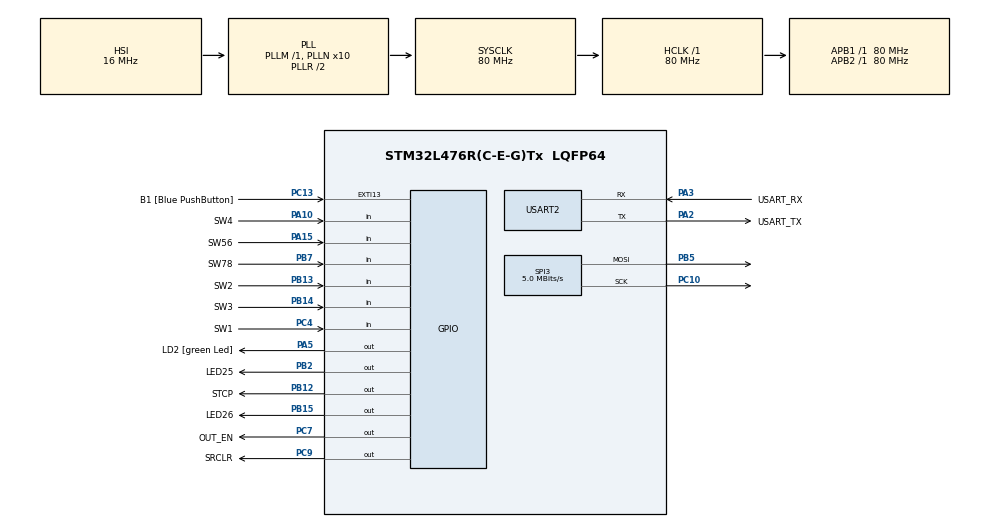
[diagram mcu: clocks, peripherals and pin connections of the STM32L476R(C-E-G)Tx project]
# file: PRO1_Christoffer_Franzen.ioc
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FREERTOS.Mutexes01=spiMutex,Static,spiMutexControlBlock
FREERTOS.Tasks01=defaultTask,24,128,StartDefaultTask,Default,NULL,Dynamic,NULL,NULL;SendSPITask,40,128,SendSPIdataTask,Default,NULL,Dynamic,NULL,NULL;TrafficLight,24,128,TrafficLightTask,Default,NULL,Dynamic,NULL,NULL;ToggleLED,40,128,ToggleLEDTask,Default,NULL,Dynamic,NULL,NULL
FREERTOS.configTOTAL_HEAP_SIZE=5000
FREERTOS.configUSE_NEWLIB_REENTRANT=1
Mcu.Family=STM32L4
Mcu.Name=STM32L476R(C-E-G)Tx
Mcu.Package=LQFP64
NVIC.PriorityGroup=NVIC_PRIORITYGROUP_4
NVIC.TIM1_UP_TIM16_IRQn=true\:15\:0\:false\:false\:true\:false\:false\:true\:true
NVIC.TimeBase=TIM1_UP_TIM16_IRQn
NVIC.TimeBaseIP=TIM1
PA10.GPIO_Label=SW4
PA10.GPIO_PuPd=GPIO_PULLUP
PA10.Signal=GPIO_Input
PA13\ (JTMS-SWDIO).GPIO_Label=TMS
PA13\ (JTMS-SWDIO).Mode=Serial_Wire
PA13\ (JTMS-SWDIO).Signal=SYS_JTMS-SWDIO
PA14\ (JTCK-SWCLK).GPIO_Label=TCK
PA14\ (JTCK-SWCLK).Mode=Serial_Wire
PA14\ (JTCK-SWCLK).Signal=SYS_JTCK-SWCLK
PA15\ (JTDI).GPIO_Label=SW56
PA15\ (JTDI).GPIO_PuPd=GPIO_PULLUP
PA15\ (JTDI).Signal=GPIO_Input
PA2.GPIO_Label=USART_TX
PA2.GPIO_Mode=GPIO_MODE_AF_PP
PA2.GPIO_PuPd=GPIO_NOPULL
PA2.GPIO_Speed=GPIO_SPEED_FREQ_VERY_HIGH
PA2.Mode=Asynchronous
PA2.Signal=USART2_TX
PA3.GPIO_Label=USART_RX
PA3.GPIO_Mode=GPIO_MODE_AF_PP
PA3.GPIO_PuPd=GPIO_NOPULL
PA3.GPIO_Speed=GPIO_SPEED_FREQ_VERY_HIGH
PA3.Mode=Asynchronous
PA3.Signal=USART2_RX
PA5.GPIO_Label=LD2 [green Led]
PA5.GPIO_ModeDefaultOutputPP=GPIO_MODE_OUTPUT_PP
PA5.GPIO_PuPd=GPIO_NOPULL
PA5.GPIO_Speed=GPIO_SPEED_FREQ_LOW
PA5.Signal=GPIO_Output
PB12.GPIO_Label=STCP
PB12.Signal=GPIO_Output
PB13.GPIO_Label=SW2
PB13.GPIO_PuPd=GPIO_PULLUP
PB13.Signal=GPIO_Input
PB14.GPIO_Label=SW3
PB14.GPIO_PuPd=GPIO_PULLUP
PB14.Signal=GPIO_Input
PB15.GPIO_Label=LED26
PB15.Signal=GPIO_Output
PB2.GPIO_Label=LED25
PB2.Signal=GPIO_Output
PB3\ (JTDO-TRACESWO).GPIO_Label=SWO
PB3\ (JTDO-TRACESWO).Signal=SYS_JTDO-SWO
PB5.Mode=TX_Only_Simplex_Unidirect_Master
PB5.Signal=SPI3_MOSI
PB7.GPIO_Label=SW78
PB7.GPIO_PuPd=GPIO_PULLUP
PB7.Signal=GPIO_Input
PC10.Mode=TX_Only_Simplex_Unidirect_Master
PC10.Signal=SPI3_SCK
PC13.GPIO_Label=B1 [Blue PushButton]
PC13.GPIO_ModeDefaultEXTI=GPIO_MODE_IT_FALLING
PC13.GPIO_PuPd=GPIO_NOPULL
PC13.Signal=GPXTI13
PC14-OSC32_IN\ (PC14).Mode=LSE-External-Oscillator
PC14-OSC32_IN\ (PC14).Signal=RCC_OSC32_IN
PC15-OSC32_OUT\ (PC15).Mode=LSE-External-Oscillator
PC15-OSC32_OUT\ (PC15).Signal=RCC_OSC32_OUT
PC4.GPIO_Label=SW1
PC4.GPIO_PuPd=GPIO_PULLUP
PC4.Signal=GPIO_Input
PC7.GPIO_Label=OUT_EN
PC7.PinState=GPIO_PIN_SET
PC7.Signal=GPIO_Output
PC9.GPIO_Label=SRCLR
PC9.PinState=GPIO_PIN_SET
PC9.Signal=GPIO_Output
PH0-OSC_IN\ (PH0).Signal=RCC_OSC_IN
PH1-OSC_OUT\ (PH1).Signal=RCC_OSC_OUT
ProjectManager.HeapSize=0x200
ProjectManager.StackSize=0x400
ProjectManager.TargetToolchain=STM32CubeIDE
RCC.ADCFreq_Value=64000000
RCC.AHBFreq_Value=80000000
RCC.APB1Freq_Value=80000000
RCC.APB1TimFreq_Value=80000000
RCC.APB2Freq_Value=80000000
RCC.APB2TimFreq_Value=80000000
RCC.CortexFreq_Value=80000000
RCC.HCLKFreq_Value=80000000
RCC.HSE_VALUE=8000000
RCC.HSI_VALUE=16000000
RCC.MSI_VALUE=4000000
RCC.PLLN=10
RCC.PLLSourceVirtual=RCC_PLLSOURCE_HSI
RCC.PREFETCH_ENABLE=1
RCC.SYSCLKFreq_VALUE=80000000
RCC.SYSCLKSource=RCC_SYSCLKSOURCE_PLLCLK
RCC.USBFreq_Value=64000000
RCC.VCOOutputFreq_Value=160000000
SPI3.BaudRatePrescaler=SPI_BAUDRATEPRESCALER_16
SPI3.CalculateBaudRate=5.0 MBits/s
SPI3.DataSize=SPI_DATASIZE_8BIT
SPI3.Direction=SPI_DIRECTION_2LINES
SPI3.FirstBit=SPI_FIRSTBIT_MSB
SPI3.Mode=SPI_MODE_MASTER
SPI3.VirtualType=VM_MASTER
USART2.VirtualMode-Asynchronous=VM_ASYNC
VP_FREERTOS_VS_CMSIS_V2.Mode=CMSIS_V2
VP_SYS_VS_tim1.Mode=TIM1
board=NUCLEO-L476RG

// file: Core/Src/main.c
/* USER CODE BEGIN Header */
/**
  ******************************************************************************
  * @file           : main.c
  * @brief          : Main program body
  ******************************************************************************
  * @attention
  *
  * Copyright (c) 2023 STMicroelectronics.
  * All rights reserved.
  *
  * This software is licensed under terms that can be found in the LICENSE file
  * in the root directory of this software component.
  * If no LICENSE file comes with this software, it is provided AS-IS.
  *
  ******************************************************************************
  */
/* USER CODE END Header */
#include "main.h"
#include "cmsis_os.h"
#include "spi.h"
#include "usart.h"
#include "gpio.h"

void SystemClock_Config(void);
void MX_FREERTOS_Init(void);

int main(void)
{

  /* MCU Configuration--------------------------------------------------------*/

  /* Reset of all peripherals, Initializes the Flash interface and the Systick. */
  HAL_Init();

  /* Configure the system clock */
  SystemClock_Config();

  /* Initialize all configured peripherals */
  MX_GPIO_Init();
  MX_USART2_UART_Init();
  MX_SPI3_Init();

  /* Init scheduler */
  osKernelInitialize();  /* Call init function for freertos objects (in freertos.c) */
  MX_FREERTOS_Init();

  /* Start scheduler */
  osKernelStart();

  /* We should never get here as control is now taken by the scheduler */
  /* Infinite loop */
  while (1)
  {

  }
}

void SystemClock_Config(void)
{
  RCC_OscInitTypeDef RCC_OscInitStruct = {0};
  RCC_ClkInitTypeDef RCC_ClkInitStruct = {0};

  /** Configure the main internal regulator output voltage
  */
  if (HAL_PWREx_ControlVoltageScaling(PWR_REGULATOR_VOLTAGE_SCALE1) != HAL_OK)
  {
    Error_Handler();
  }

  /** Initializes the RCC Oscillators according to the specified parameters
  * in the RCC_OscInitTypeDef structure.
  */
  RCC_OscInitStruct.OscillatorType = RCC_OSCILLATORTYPE_HSI;
  RCC_OscInitStruct.HSIState = RCC_HSI_ON;
  RCC_OscInitStruct.HSICalibrationValue = RCC_HSICALIBRATION_DEFAULT;
  RCC_OscInitStruct.PLL.PLLState = RCC_PLL_ON;
  RCC_OscInitStruct.PLL.PLLSource = RCC_PLLSOURCE_HSI;
  RCC_OscInitStruct.PLL.PLLM = 1;
  RCC_OscInitStruct.PLL.PLLN = 10;
  RCC_OscInitStruct.PLL.PLLP = RCC_PLLP_DIV7;
  RCC_OscInitStruct.PLL.PLLQ = RCC_PLLQ_DIV2;
  RCC_OscInitStruct.PLL.PLLR = RCC_PLLR_DIV2;
  if (HAL_RCC_OscConfig(&RCC_OscInitStruct) != HAL_OK)
  {
    Error_Handler();
  }

  /** Initializes the CPU, AHB and APB buses clocks
  */
  RCC_ClkInitStruct.ClockType = RCC_CLOCKTYPE_HCLK|RCC_CLOCKTYPE_SYSCLK
                              |RCC_CLOCKTYPE_PCLK1|RCC_CLOCKTYPE_PCLK2;
  RCC_ClkInitStruct.SYSCLKSource = RCC_SYSCLKSOURCE_PLLCLK;
  RCC_ClkInitStruct.AHBCLKDivider = RCC_SYSCLK_DIV1;
  RCC_ClkInitStruct.APB1CLKDivider = RCC_HCLK_DIV1;
  RCC_ClkInitStruct.APB2CLKDivider = RCC_HCLK_DIV1;

  if (HAL_RCC_ClockConfig(&RCC_ClkInitStruct, FLASH_LATENCY_4) != HAL_OK)
  {
    Error_Handler();
  }
}

void HAL_TIM_PeriodElapsedCallback(TIM_HandleTypeDef *htim)
{
  if (htim->Instance == TIM1) {
    HAL_IncTick();
  }
}

void Error_Handler(void)
{
  __disable_irq();
  while (1)
  {
  }
}

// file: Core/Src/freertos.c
/* USER CODE BEGIN Header */
/**
 ******************************************************************************
 * File Name          : freertos.c
 * Description        : Code for freertos applications
 ******************************************************************************
 * @attention
 *
 * Copyright (c) 2023 STMicroelectronics.
 * All rights reserved.
 *
 * This software is licensed under terms that can be found in the LICENSE file
 * in the root directory of this software component.
 * If no LICENSE file comes with this software, it is provided AS-IS.
 *
 ******************************************************************************
 */
/* USER CODE END Header */

#include "FreeRTOS.h"
#include "task.h"
#include "main.h"
#include "cmsis_os.h"

/* USER CODE BEGIN Includes */
#include <string.h>
#include "test.h"
#include "utilities.h"
#include "traffic_light.h"
#include "global.h"
/* USER CODE END Includes */

typedef StaticSemaphore_t osStaticMutexDef_t;
/* USER CODE BEGIN PTD */
osThreadId_t ToggleLEDHandle;
/* USER CODE END PTD */

/* USER CODE BEGIN PD */
#define RUN_TEST_PROGRAM
#undef RUN_TEST_PROGRAM
/* USER CODE END PD */

/* USER CODE BEGIN Variables */
TrafficLight tl;
uint8_t ledID;

/* USER CODE END Variables */
/* Definitions for defaultTask */
osThreadId_t defaultTaskHandle;
const osThreadAttr_t defaultTask_attributes = { .name = "defaultTask",
		.stack_size = 128 * 4, .priority = (osPriority_t) osPriorityNormal, };
/* Definitions for SendSPITask */
osThreadId_t SendSPITaskHandle;
const osThreadAttr_t SendSPITask_attributes = { .name = "SendSPITask",
		.stack_size = 128 * 4, .priority = (osPriority_t) osPriorityHigh, };
/* Definitions for TrafficLight */
osThreadId_t TrafficLightHandle;
const osThreadAttr_t TrafficLight_attributes = { .name = "TrafficLight",
		.stack_size = 128 * 4, .priority = (osPriority_t) osPriorityNormal, };
/* Definitions for ToggleLED */
osThreadId_t ToggleLEDHandle;
const osThreadAttr_t ToggleLED_attributes = { .name = "ToggleLED", .stack_size =
		128 * 4, .priority = (osPriority_t) osPriorityHigh, };
/* Definitions for spiMutex */
osMutexId_t spiMutexHandle;
osStaticMutexDef_t spiMutexControlBlock;
const osMutexAttr_t spiMutex_attributes = { .name = "spiMutex", .cb_mem =
		&spiMutexControlBlock, .cb_size = sizeof(spiMutexControlBlock), };

void StartDefaultTask(void *argument);
void SendSPIdataTask(void *argument);
void TrafficLightTask(void *argument);
void ToggleLEDTask(void *argument);

void MX_FREERTOS_Init(void); /* (MISRA C 2004 rule 8.1) */

void MX_FREERTOS_Init(void) {
	/* Create the mutex(es) */
	/* creation of spiMutex */
	spiMutexHandle = osMutexNew(&spiMutex_attributes);

	/* Create the thread(s) */
	/* creation of defaultTask */
	defaultTaskHandle = osThreadNew(StartDefaultTask, NULL,
			&defaultTask_attributes);

	/* creation of SendSPITask */
	SendSPITaskHandle = osThreadNew(SendSPIdataTask, NULL,
			&SendSPITask_attributes);

	/* creation of TrafficLight */
	TrafficLightHandle = osThreadNew(TrafficLightTask, NULL,
			&TrafficLight_attributes);

	/* creation of ToggleLED */
	ToggleLEDHandle = osThreadNew(ToggleLEDTask, NULL, &ToggleLED_attributes);

	/* USER CODE BEGIN RTOS_THREADS */
	/* add threads, ... */
	vTaskSuspend(ToggleLEDHandle);
	/* USER CODE END RTOS_THREADS */

}

void StartDefaultTask(void *argument) {
    /* USER CODE BEGIN StartDefaultTask */
    /* Infinite loop */
    for (;;) {
#ifdef RUN_TEST_PROGRAM
        TickType_t xLastWakeTime;
        const TickType_t xPeriod = pdMS_TO_TICKS(10); // ms to ticks
        xLastWakeTime = xTaskGetTickCount();
        test_program();
        vTaskDelayUntil(&xLastWakeTime, xPeriod);
#else
        vTaskDelete(NULL);
#endif
    }
    /* USER CODE END StartDefaultTask */
}

void SendSPIdataTask(void *argument) {
	/* USER CODE BEGIN SendSPIdataTask */
	TickType_t xLastWakeTime;
	const TickType_t xPeriod = pdMS_TO_TICKS(50); // ms to ticks

	// Infinite loop for continuous SPI communication
	xLastWakeTime = xTaskGetTickCount();
	for (;;) {
		if (osMutexAcquire(spiMutexHandle, osWaitForever) == osOK) {
			if (memcmp(data, lastData, sizeof(data)) != 0) // Compare the arrays
					{
				sendSPIdata(data, 3); // Implement this function to send data using SPI
				memcpy(lastData, data, sizeof(data)); // Copy data to lastData
			}
			osMutexRelease(spiMutexHandle);
		}
		vTaskDelayUntil(&xLastWakeTime, xPeriod);
	}
	/* USER CODE END SendSPIdataTask */
}

void TrafficLightTask(void *argument) {
	/* USER CODE BEGIN TrafficLightTask */
	TickType_t xLastWakeTime;
	const TickType_t xPeriod = pdMS_TO_TICKS(10); // ms to ticks
	xLastWakeTime = xTaskGetTickCount();
	initialize(&tl);
	/* Infinite loop */
	for (;;) {
#ifdef RUN_TEST_PROGRAM
	  vTaskDelete(NULL);
	#else
		trafficLightStateMachine(&tl);
		updateInputs(&tl);
		vTaskDelayUntil(&xLastWakeTime, xPeriod);
#endif
	}
	/* USER CODE END TrafficLightTask */
}

void ToggleLEDTask(void *argument) {
	/* USER CODE BEGIN ToggleLEDTask */
	const TickType_t xFrequency = toggleFreq;
	TickType_t xLastWakeTime = xTaskGetTickCount();
	//uint8_t ledID = *((uint8_t*) argument);
	/* Infinite loop */
	for (;;) {
		toggleLED(ledID);
		vTaskDelayUntil(&xLastWakeTime, xFrequency);
	}
	/* USER CODE END ToggleLEDTask */
}
